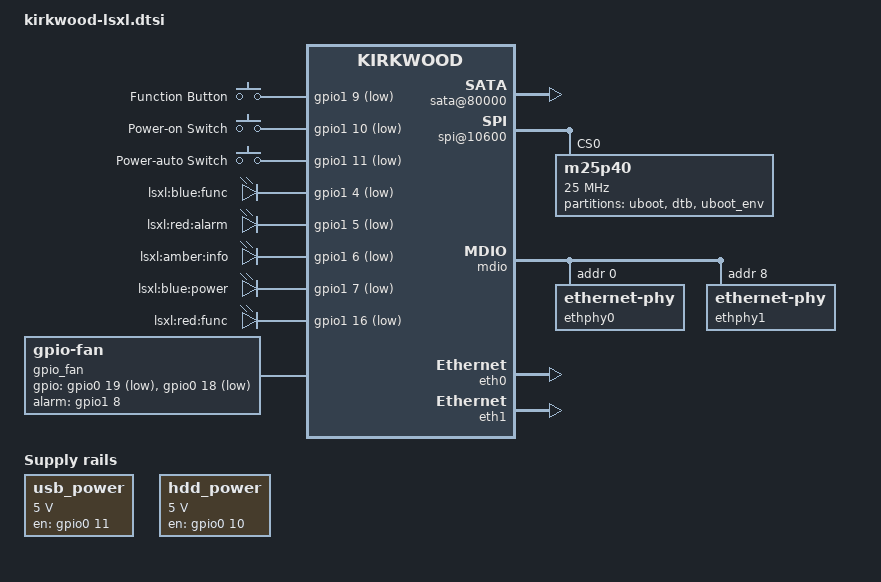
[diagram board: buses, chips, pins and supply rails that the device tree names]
#include "kirkwood.dtsi"
#include "kirkwood-6281.dtsi"

/ {
	chosen {
		bootargs = "console=ttyS0,115200n8 earlyprintk";
		stdout-path = &uart0;
	};

	ocp@f1000000 {
		pinctrl: pin-controller@10000 {
			pmx_power_hdd: pmx-power-hdd {
				marvell,pins = "mpp10";
				marvell,function = "gpo";
			};
			pmx_usb_vbus: pmx-usb-vbus {
				marvell,pins = "mpp11";
				marvell,function = "gpio";
			};
			pmx_fan_high: pmx-fan-high {
				marvell,pins = "mpp18";
				marvell,function = "gpo";
			};
			pmx_fan_low: pmx-fan-low {
				marvell,pins = "mpp19";
				marvell,function = "gpo";
			};
			pmx_led_function_blue: pmx-led-function-blue {
				marvell,pins = "mpp36";
				marvell,function = "gpio";
			};
			pmx_led_alarm: pmx-led-alarm {
				marvell,pins = "mpp37";
				marvell,function = "gpio";
			};
			pmx_led_info: pmx-led-info {
				marvell,pins = "mpp38";
				marvell,function = "gpio";
			};
			pmx_led_power: pmx-led-power {
				marvell,pins = "mpp39";
				marvell,function = "gpio";
			};
			pmx_fan_lock: pmx-fan-lock {
				marvell,pins = "mpp40";
				marvell,function = "gpio";
			};
			pmx_button_function: pmx-button-function {
				marvell,pins = "mpp41";
				marvell,function = "gpio";
			};
			pmx_power_switch: pmx-power-switch {
				marvell,pins = "mpp42";
				marvell,function = "gpio";
			};
			pmx_power_auto_switch: pmx-power-auto-switch {
				marvell,pins = "mpp43";
				marvell,function = "gpio";
			};
			pmx_led_function_red: pmx-led-function_red {
				marvell,pins = "mpp48";
				marvell,function = "gpio";
			};

		};
		sata@80000 {
			status = "okay";
			nr-ports = <1>;
		};

		spi@10600 {
			status = "okay";

			m25p40@0 {
				#address-cells = <1>;
				#size-cells = <1>;
				compatible = "m25p40";
				reg = <0>;
				spi-max-frequency = <25000000>;
				mode = <0>;

				partition@0 {
					reg = <0x0 0x60000>;
					label = "uboot";
					read-only;
				};

				partition@60000 {
					reg = <0x60000 0x10000>;
					label = "dtb";
					read-only;
				};

				partition@70000 {
					reg = <0x70000 0x10000>;
					label = "uboot_env";
				};
			};
		};
	};

	gpio_keys {
		compatible = "gpio-keys";
		#address-cells = <1>;
		#size-cells = <0>;
		pinctrl-0 = <&pmx_button_function &pmx_power_switch
			     &pmx_power_auto_switch>;
		pinctrl-names = "default";

		button@1 {
			label = "Function Button";
			linux,code = <KEY_OPTION>;
			gpios = <&gpio1 9 GPIO_ACTIVE_LOW>;
		};
		button@2 {
			label = "Power-on Switch";
			linux,code = <KEY_RESERVED>;
			linux,input-type = <5>;
			gpios = <&gpio1 10 GPIO_ACTIVE_LOW>;
		};
		button@3 {
			label = "Power-auto Switch";
			linux,code = <KEY_ESC>;
			linux,input-type = <5>;
			gpios = <&gpio1 11 GPIO_ACTIVE_LOW>;
		};
	};

	gpio_leds {
		compatible = "gpio-leds";
		pinctrl-0 = <&pmx_led_function_red &pmx_led_alarm
			     &pmx_led_info &pmx_led_power
			     &pmx_led_function_blue>;
		pinctrl-names = "default";

		led@1 {
			label = "lsxl:blue:func";
			gpios = <&gpio1 4 GPIO_ACTIVE_LOW>;
		};

		led@2 {
			label = "lsxl:red:alarm";
			gpios = <&gpio1 5 GPIO_ACTIVE_LOW>;
		};

		led@3 {
			label = "lsxl:amber:info";
			gpios = <&gpio1 6 GPIO_ACTIVE_LOW>;
		};

		led@4 {
			label = "lsxl:blue:power";
			gpios = <&gpio1 7 GPIO_ACTIVE_LOW>;
			default-state = "keep";
		};

		led@5 {
			label = "lsxl:red:func";
			gpios = <&gpio1 16 GPIO_ACTIVE_LOW>;
		};
	};

	gpio_fan {
		compatible = "gpio-fan";
		pinctrl-0 = <&pmx_fan_low &pmx_fan_high &pmx_fan_lock>;
		pinctrl-names = "default";
		gpios = <&gpio0 19 GPIO_ACTIVE_LOW
		         &gpio0 18 GPIO_ACTIVE_LOW>;
		gpio-fan,speed-map = <0    3
		                      1500 2
		                      3250 1
		                      5000 0>;
		alarm-gpios = <&gpio1 8 GPIO_ACTIVE_HIGH>;
	};

	restart_poweroff {
		compatible = "restart-poweroff";
	};

	regulators {
		compatible = "simple-bus";
		#address-cells = <1>;
		#size-cells = <0>;
		pinctrl-0 = <&pmx_power_hdd &pmx_usb_vbus>;
		pinctrl-names = "default";

		usb_power: regulator@1 {
			compatible = "regulator-fixed";
			reg = <1>;
			regulator-name = "USB Power";
			regulator-min-microvolt = <5000000>;
			regulator-max-microvolt = <5000000>;
			enable-active-high;
			regulator-always-on;
			regulator-boot-on;
			gpio = <&gpio0 11 0>;
		};
		hdd_power: regulator@2 {
			compatible = "regulator-fixed";
			reg = <2>;
			regulator-name = "HDD Power";
			regulator-min-microvolt = <5000000>;
			regulator-max-microvolt = <5000000>;
			enable-active-high;
			regulator-always-on;
			regulator-boot-on;
			gpio = <&gpio0 10 0>;
		};
	};
};

&mdio {
	status = "okay";

	ethphy0: ethernet-phy@0 {
		reg = <0>;
	};

	ethphy1: ethernet-phy@8 {
		reg = <8>;
	};
};

&eth0 {
	status = "okay";
	ethernet0-port@0 {
		phy-handle = <&ethphy0>;
	};
};

&eth1 {
	status = "okay";
	ethernet1-port@0 {
		phy-handle = <&ethphy1>;
	};
};
